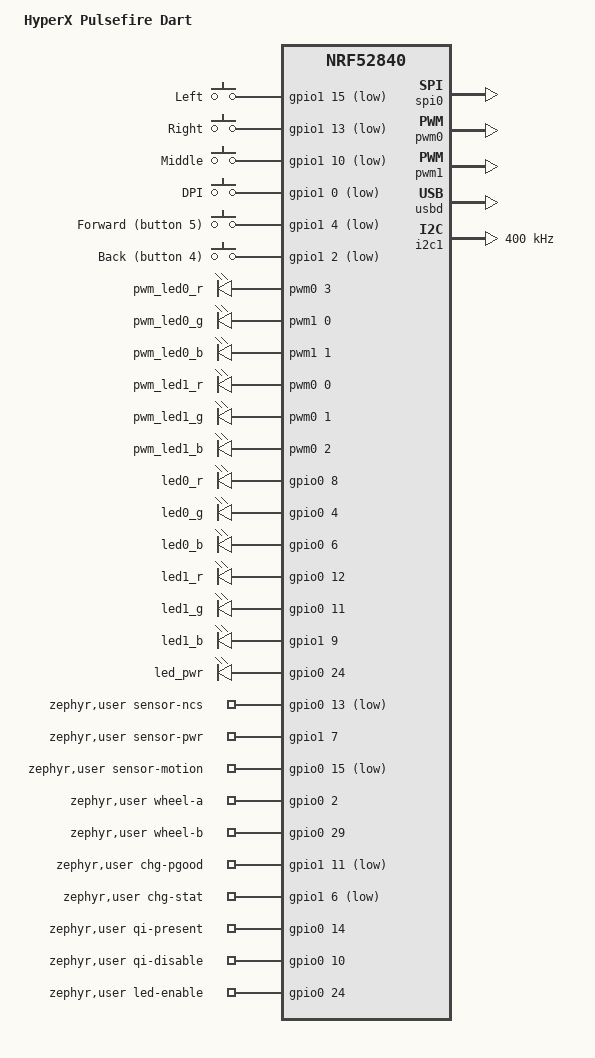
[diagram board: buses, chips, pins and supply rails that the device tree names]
/dts-v1/;
#include <nordic/nrf52840_qiaa.dtsi>
#include "pulsedart-pinctrl.dtsi"
#include <zephyr/dt-bindings/pwm/pwm.h>
#include <zephyr/dt-bindings/regulator/nrf5x.h>

/* Pin map: see PINMAP.md (derived from stock firmware + live register reads). */

/ {
	model = "HyperX Pulsefire Dart";
	compatible = "hyperx,pulsedart";

	chosen {
		zephyr,sram = &sram0;
		zephyr,flash = &flash0;
		zephyr,code-partition = &slot0_partition;
	};

	buttons {
		compatible = "gpio-keys";
		btn_left: btn_left {
			gpios = <&gpio1 15 (GPIO_PULL_UP | GPIO_ACTIVE_LOW)>;
			label = "Left";
		};
		btn_right: btn_right {
			gpios = <&gpio1 13 (GPIO_PULL_UP | GPIO_ACTIVE_LOW)>;
			label = "Right";
		};
		btn_middle: btn_middle {
			gpios = <&gpio1 10 (GPIO_PULL_UP | GPIO_ACTIVE_LOW)>;
			label = "Middle";
		};
		btn_dpi: btn_dpi {
			gpios = <&gpio1 0 (GPIO_PULL_UP | GPIO_ACTIVE_LOW)>;
			label = "DPI";
		};
		btn_fwd: btn_fwd {
			gpios = <&gpio1 4 (GPIO_PULL_UP | GPIO_ACTIVE_LOW)>;
			label = "Forward (button 5)";
		};
		btn_back: btn_back {
			gpios = <&gpio1 2 (GPIO_PULL_UP | GPIO_ACTIVE_LOW)>;
			label = "Back (button 4)";
		};
	};

	/* Same pins driven by PWM (used by the main firmware) */
	pwmleds {
		compatible = "pwm-leds";
		pwm_led0_r: pwm_led0_r { pwms = <&pwm0 3 PWM_USEC(320) PWM_POLARITY_NORMAL>; };
		pwm_led0_g: pwm_led0_g { pwms = <&pwm1 0 PWM_USEC(320) PWM_POLARITY_NORMAL>; };
		pwm_led0_b: pwm_led0_b { pwms = <&pwm1 1 PWM_USEC(320) PWM_POLARITY_NORMAL>; };
		pwm_led1_r: pwm_led1_r { pwms = <&pwm0 0 PWM_USEC(320) PWM_POLARITY_NORMAL>; };
		pwm_led1_g: pwm_led1_g { pwms = <&pwm0 1 PWM_USEC(320) PWM_POLARITY_NORMAL>; };
		pwm_led1_b: pwm_led1_b { pwms = <&pwm0 2 PWM_USEC(320) PWM_POLARITY_NORMAL>; };
	};

	/* Plain GPIO view of the same LED pins (bring-up app only) */
	leds {
		compatible = "gpio-leds";
		led0_r: led0_r { gpios = <&gpio0 8 GPIO_ACTIVE_HIGH>; };
		led0_g: led0_g { gpios = <&gpio0 4 GPIO_ACTIVE_HIGH>; };
		led0_b: led0_b { gpios = <&gpio0 6 GPIO_ACTIVE_HIGH>; };
		led1_r: led1_r { gpios = <&gpio0 12 GPIO_ACTIVE_HIGH>; };
		led1_g: led1_g { gpios = <&gpio0 11 GPIO_ACTIVE_HIGH>; };
		led1_b: led1_b { gpios = <&gpio1 9 GPIO_ACTIVE_HIGH>; };
		/* Supply enable for the LEDs (hypothesis from power.md) */
		led_pwr: led_pwr { gpios = <&gpio0 24 GPIO_ACTIVE_HIGH>; };
	};

	/* Board signals used directly by the firmware (roles: PINMAP.md, re/power.md) */
	zephyr,user {
		sensor-ncs-gpios = <&gpio0 13 GPIO_ACTIVE_LOW>;
		sensor-pwr-gpios = <&gpio1 7 GPIO_ACTIVE_HIGH>;	/* stock: set high once, never low */
		sensor-motion-gpios = <&gpio0 15 (GPIO_PULL_UP | GPIO_ACTIVE_LOW)>;
		wheel-a-gpios = <&gpio0 2 GPIO_ACTIVE_HIGH>;
		wheel-b-gpios = <&gpio0 29 GPIO_ACTIVE_HIGH>;
		chg-pgood-gpios = <&gpio1 11 GPIO_ACTIVE_LOW>;	/* external power present */
		chg-stat-gpios = <&gpio1 6 GPIO_ACTIVE_LOW>;	/* charging */
		qi-present-gpios = <&gpio0 14 GPIO_ACTIVE_HIGH>;
		qi-disable-gpios = <&gpio0 10 GPIO_ACTIVE_HIGH>;	/* stock: 1 while on cable */
		led-enable-gpios = <&gpio0 24 GPIO_ACTIVE_HIGH>;
	};

	aliases {
		led0 = &led0_g;
		sw0 = &btn_left;
	};
};

/* DC/DC for REG1, as stock (DCDCEN=1, so the inductor is fitted). REG0 output (2.1 V)
 * comes from UICR REGOUT0, already programmed, and is not touched. */
&reg1 {
	regulator-initial-mode = <NRF5X_REG_MODE_DCDC>;
};

&gpiote { status = "okay"; };
&gpio0 { status = "okay"; };
&gpio1 { status = "okay"; };

/*
 * PMW3389 on SPI0 (legacy SPI in stock fw; SPIM0 uses the same pins/instance).
 * NCS (P0.13) is driven by the sensor driver itself: the PMW3389 needs
 * specific delays around NCS that a generic cs-gpios cannot express.
 */
&spi0 {
	compatible = "nordic,nrf-spim";
	status = "okay";
	pinctrl-0 = <&spi0_default>;
	pinctrl-1 = <&spi0_sleep>;
	pinctrl-names = "default", "sleep";
};

/* RGB LEDs, same PWM instances/channels as stock (period 320 us = 3.125 kHz) */
&pwm0 {
	status = "okay";
	pinctrl-0 = <&pwm0_default>;
	pinctrl-1 = <&pwm0_sleep>;
	pinctrl-names = "default", "sleep";
};

&pwm1 {
	status = "okay";
	pinctrl-0 = <&pwm1_default>;
	pinctrl-1 = <&pwm1_sleep>;
	pinctrl-names = "default", "sleep";
};

zephyr_udc0: &usbd {
	status = "okay";
	/* Same four HID interfaces as the stock firmware (re/vendor_protocol.md 10.2) */
	hid_mouse: hid_mouse {
		compatible = "zephyr,hid-device";
		label = "mouse";
		protocol-code = "mouse";
		in-polling-period-us = <1000>;
		in-report-size = <64>;
	};
	hid_vendor: hid_vendor {
		compatible = "zephyr,hid-device";
		label = "vendor";
		protocol-code = "none";
		in-polling-period-us = <1000>;
		in-report-size = <64>;
		out-polling-period-us = <1000>;
		out-report-size = <64>;
	};
	hid_kbd: hid_kbd {
		compatible = "zephyr,hid-device";
		label = "keyboard";
		protocol-code = "none";
		in-polling-period-us = <1000>;
		in-report-size = <64>;
	};
	hid_consumer: hid_consumer {
		compatible = "zephyr,hid-device";
		label = "consumer";
		protocol-code = "none";
		in-polling-period-us = <1000>;
		in-report-size = <64>;
	};
};

/* Settings EEPROM @0x50, bq27421 fuel gauge @0x55 */
&i2c1 {
	compatible = "nordic,nrf-twim";
	status = "okay";
	clock-frequency = <I2C_BITRATE_FAST>;
	pinctrl-0 = <&i2c1_default>;
	pinctrl-1 = <&i2c1_sleep>;
	pinctrl-names = "default", "sleep";
};

&flash0 {
	partitions {
		compatible = "fixed-partitions";
		#address-cells = <1>;
		#size-cells = <1>;

		/* Stock boot stub + boot header + USB HID bootloader: never touched */
		stock_boot_partition: partition@0 {
			label = "stock-boot";
			reg = <0x00000000 0x00050000>;
			read-only;
		};
		/* Stub jumps here when header @0x27010 says "jump" (it does) */
		slot0_partition: partition@50000 {
			label = "image-0";
			reg = <0x00050000 0x0009d000>;
		};
		/* 0xEE000/0xEF000 hold stock data (pairing record): keep */
		stock_data_partition: partition@ee000 {
			label = "stock-data";
			reg = <0x000ee000 0x00002000>;
			read-only;
		};
		storage_partition: partition@f0000 {
			label = "storage";
			reg = <0x000f0000 0x00008000>;
		};
	};
};
